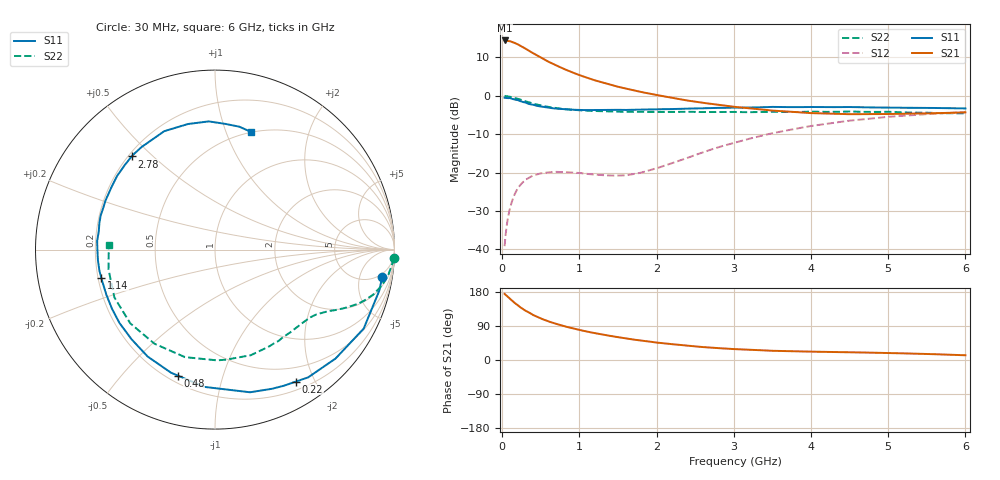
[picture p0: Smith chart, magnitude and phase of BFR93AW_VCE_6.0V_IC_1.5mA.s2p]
! Infineon Technologies  Discrete & RF Semiconductors
! BFR93AW
! VCE =  6.0 V,  IC =  1.5 mA
! Common Emitter S-Parameters:  Nov 2015
# GHz  S  MA  R  50
!  f  S11  S21  S12  S22
! GHz  MAG  ANG  MAG  ANG  MAG  ANG  MAG  ANG
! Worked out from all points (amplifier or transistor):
!   206 points, 30 MHz to 6 GHz, reference 50 ohm
!   highest |S21| = 14.4 dB at 30 MHz (marker M1)
!   |S21| within 3 dB of that: start of sweep to 371.4 MHz
!   unconditionally stable (mu >= 1): 1.306 GHz to 2.305 GHz
!   at 200 MHz: K = 0.14, MSG = 18.8 dB, |S12| = -24.1 dB
!   at 1.56 GHz: K = 1.17, MAG = 8.9 dB, |S12| = -20.7 dB
!   at 6 GHz: K = 1.00, MSG = 0.0 dB, |S12| = -4.2 dB
!   S11 on the Smith chart (normalised r, x): 30 MHz: 4, -11; 220 MHz: 0.30, -1.75; 480 MHz: 0.24, -0.72; 1.14 GHz: 0.21, -0.12; 2.78 GHz: 0.21, +0.43; 6 GHz: 0.49, +1.22
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0.03  0.9438 -9.3  5.271 174.4  0.011 83.4  1 -2.8
0.06  0.938 -16.8  5.217 168.7  0.0213 79.3  0.9871 -5.3
0.1  0.9381 -28.0  5.163 161.5  0.0346 74.2  0.9743 -8.8
0.15  0.9053 -42.1  4.948 152.3  0.0495 66.3  0.9466 -12.6
0.2  0.881 -53.9  4.693 144.4  0.0625 60.8  0.9162 -15.9
0.22  0.8626 -58.5  4.571 141.4  0.0663 58.2  0.9022 -17.0
0.26  0.838 -67.7  4.352 135.5  0.0738 53.9  0.8753 -19.1
0.3  0.8185 -76.2  4.131 130.2  0.0806 50.2  0.8498 -20.9
0.4  0.7672 -94.4  3.594 118.7  0.0919 42.5  0.7931 -24.2
0.48  0.7317 -106.5  3.243 111.4  0.0965 38.1  0.757 -26.3
0.6  0.7041 -122.2  2.78 101.6  0.1007 33.0  0.7164 -28.7
0.7  0.6825 -132.9  2.49 95.2  0.1022 30.5  0.6926 -30.6
0.8  0.6712 -142.5  2.241 89.1  0.1015 29.2  0.6713 -32.5
1.04  0.6535 -159.9  1.803 77.5  0.0978 29.9  0.6451 -37.0
1.14  0.6529 -166.2  1.668 73.2  0.0953 31.2  0.6378 -39.2
1.5  0.6583 175.7  1.313 60.2  0.0915 43.0  0.624 -47.3
2.02  0.6686 155.2  1.017 45.6  0.1155 65.3  0.6178 -61.1
2.78  0.6966 131.8  0.77 31.6  0.211 75.1  0.6161 -83.0
3.1  0.7031 123.2  0.705 28.0  0.2596 72.9  0.614 -92.3
4.1  0.7141 100.3  0.592 21.7  0.4182 59.2  0.62 -126.0
5.1  0.7011 84.0  0.582 18.0  0.5412 42.1  0.614 -157.4
6  0.6859 73.2  0.609 12.5  0.6159 28.5  0.5925 177.4
